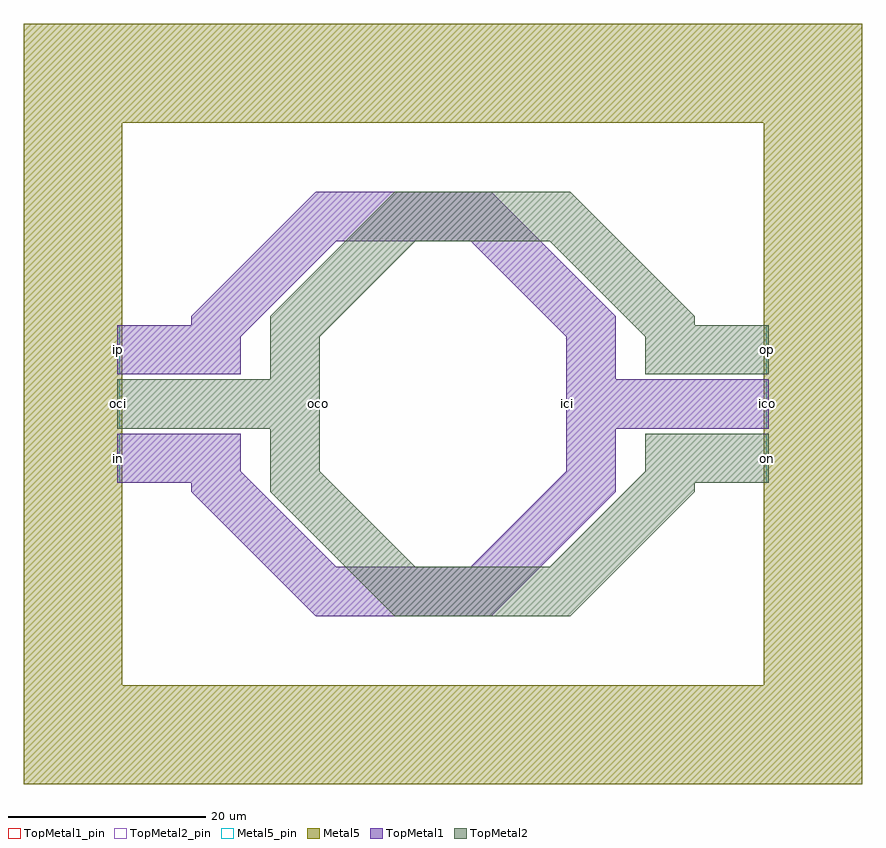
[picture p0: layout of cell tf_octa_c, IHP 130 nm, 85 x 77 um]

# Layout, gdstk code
import gdstk
lib = gdstk.Library(unit=1e-6, precision=1e-09)
def R(c, l, rs):  # rectangles x0, y0, x1, y1
    for r in rs: c.add(gdstk.rectangle(r[:2], r[2:], *l))
def A(c, l, x, y, w, h, nx, ny, dx, dy):  # array of equal rectangles
    R(c, l, [(x+i*dx, y+j*dy, x+i*dx+w, y+j*dy+h) for i in range(nx) for j in range(ny)])
def P(c, l, *ps):  # polygons
    for p in ps: c.add(gdstk.Polygon(p, *l))
Metal5 = (67, 0)
Metal5_pin = (67, 2)
TopMetal1 = (126, 0)
TopMetal1_pin = (126, 2)
TopMetal2 = (134, 0)
TopMetal2_pin = (134, 2)

tf_octa_c = lib.new_cell('tf_octa_c')
A(tf_octa_c, Metal5_pin, -33, -8, 0.25, 5, 1, 3, 0, 5.5)
A(tf_octa_c, Metal5_pin, 32.75, -8, 0.25, 5, 1, 3, 0, 5.5)
P(tf_octa_c, TopMetal1, [(-24.035,5.365),(-25.5,6.83),(-25.5,8.9),(-12.9,21.5),(-10.83,21.5),(-9.365,20.035),(-9.365,17.965),(-21.965,5.365)],
  [(13.965,5.365),(1.365,17.965),(1.365,20.035),(2.83,21.5),(4.9,21.5),(17.5,8.9),(17.5,6.83),(16.035,5.365)],
  [(2.83,-21.5),(1.365,-20.035),(1.365,-17.965),(13.965,-5.365),(16.035,-5.365),(17.5,-6.83),(17.5,-8.9),(4.9,-21.5)],
  [(-12.9,-21.5),(-25.5,-8.9),(-25.5,-6.83),(-24.035,-5.365),(-21.965,-5.365),(-9.365,-17.965),(-9.365,-20.035),(-10.83,-21.5)])
R(tf_octa_c, TopMetal1_pin, [(-33,-8,-32.75,-3), (32.75,-2.5,33,2.5), (12.5,-0.125,12.75,0.125), (-33,3,-32.75,8)])
P(tf_octa_c, TopMetal2, [(10.83,-21.5),(9.365,-20.035),(9.365,-17.965),(21.965,-5.365),(24.035,-5.365),(25.5,-6.83),(25.5,-8.9),(12.9,-21.5)],
  [(-4.9,-21.5),(-17.5,-8.9),(-17.5,-6.83),(-16.035,-5.365),(-13.965,-5.365),(-1.365,-17.965),(-1.365,-20.035),(-2.83,-21.5)],
  [(-16.035,5.365),(-17.5,6.83),(-17.5,8.9),(-4.9,21.5),(-2.83,21.5),(-1.365,20.035),(-1.365,17.965),(-13.965,5.365)],
  [(21.965,5.365),(9.365,17.965),(9.365,20.035),(10.83,21.5),(12.9,21.5),(25.5,8.9),(25.5,6.83),(24.035,5.365)])
R(tf_octa_c, TopMetal2_pin, [(32.75,-8,33,-3), (-33,-2.5,-32.75,2.5), (-12.75,-0.125,-12.5,0.125), (32.75,3,33,8)])
tf_octa_c.add(gdstk.FlexPath([(-33,0),(-15,0)], 5, ends="flush", simple_path=True, layer=134, datatype=0))  # TopMetal2
tf_octa_c.add(gdstk.FlexPath([(33,-5.5),(23,-5.5)], 5, ends=(0, 2.5), simple_path=True, layer=134, datatype=0))  # TopMetal2
tf_octa_c.add(gdstk.FlexPath([(23,-5.5),(23,-7.865)], 5, ends=(2.5, 0), simple_path=True, layer=134, datatype=0))  # TopMetal2
tf_octa_c.add(gdstk.FlexPath([(11.865,-19),(-3.865,-19)], 5, ends="flush", simple_path=True, layer=134, datatype=0))  # TopMetal2
tf_octa_c.add(gdstk.FlexPath([(-15,-7.865),(-15,7.865)], 5, ends="flush", simple_path=True, layer=134, datatype=0))  # TopMetal2
tf_octa_c.add(gdstk.FlexPath([(-3.865,19),(11.865,19)], 5, ends="flush", simple_path=True, layer=134, datatype=0))  # TopMetal2
tf_octa_c.add(gdstk.FlexPath([(23,7.865),(23,5.5)], 5, ends=(0, 2.5), simple_path=True, layer=134, datatype=0))  # TopMetal2
tf_octa_c.add(gdstk.FlexPath([(23,5.5),(33,5.5)], 5, ends=(2.5, 0), simple_path=True, layer=134, datatype=0))  # TopMetal2
tf_octa_c.add(gdstk.FlexPath([(33,0),(15,0)], 5, ends="flush", simple_path=True, layer=126, datatype=0))  # TopMetal1
tf_octa_c.add(gdstk.FlexPath([(-33,5.5),(-23,5.5)], 5, ends=(0, 2.5), simple_path=True, layer=126, datatype=0))  # TopMetal1
tf_octa_c.add(gdstk.FlexPath([(-23,5.5),(-23,7.865)], 5, ends=(2.5, 0), simple_path=True, layer=126, datatype=0))  # TopMetal1
tf_octa_c.add(gdstk.FlexPath([(-11.865,19),(3.865,19)], 5, ends="flush", simple_path=True, layer=126, datatype=0))  # TopMetal1
tf_octa_c.add(gdstk.FlexPath([(15,7.865),(15,-7.865)], 5, ends="flush", simple_path=True, layer=126, datatype=0))  # TopMetal1
tf_octa_c.add(gdstk.FlexPath([(3.865,-19),(-11.865,-19)], 5, ends="flush", simple_path=True, layer=126, datatype=0))  # TopMetal1
tf_octa_c.add(gdstk.FlexPath([(-23,-7.865),(-23,-5.5)], 5, ends=(0, 2.5), simple_path=True, layer=126, datatype=0))  # TopMetal1
tf_octa_c.add(gdstk.FlexPath([(-23,-5.5),(-33,-5.5)], 5, ends=(2.5, 0), simple_path=True, layer=126, datatype=0))  # TopMetal1
tf_octa_c.add(gdstk.FlexPath([(0,33.5),(-37.5,33.5),(-37.5,-33.5),(37.5,-33.5),(37.5,33.5),(0,33.5)], 10, ends="flush", simple_path=True, layer=67, datatype=0))  # Metal5
tf_octa_c.add(gdstk.Label('oco', (-12.625,0), layer=134, texttype=2))
tf_octa_c.add(gdstk.Label('oci', (-32.875,0), layer=134, texttype=2))
tf_octa_c.add(gdstk.Label('on', (32.875,-5.5), layer=134, texttype=2))
tf_octa_c.add(gdstk.Label('op', (32.875,5.5), layer=134, texttype=2))
tf_octa_c.add(gdstk.Label('ico', (32.875,0), layer=126, texttype=2))
tf_octa_c.add(gdstk.Label('in', (-32.875,-5.5), layer=126, texttype=2))
tf_octa_c.add(gdstk.Label('ip', (-32.875,5.5), layer=126, texttype=2))
tf_octa_c.add(gdstk.Label('ici', (12.625,0), layer=126, texttype=2))

lib.write_gds('tf_octa_c.gds')
